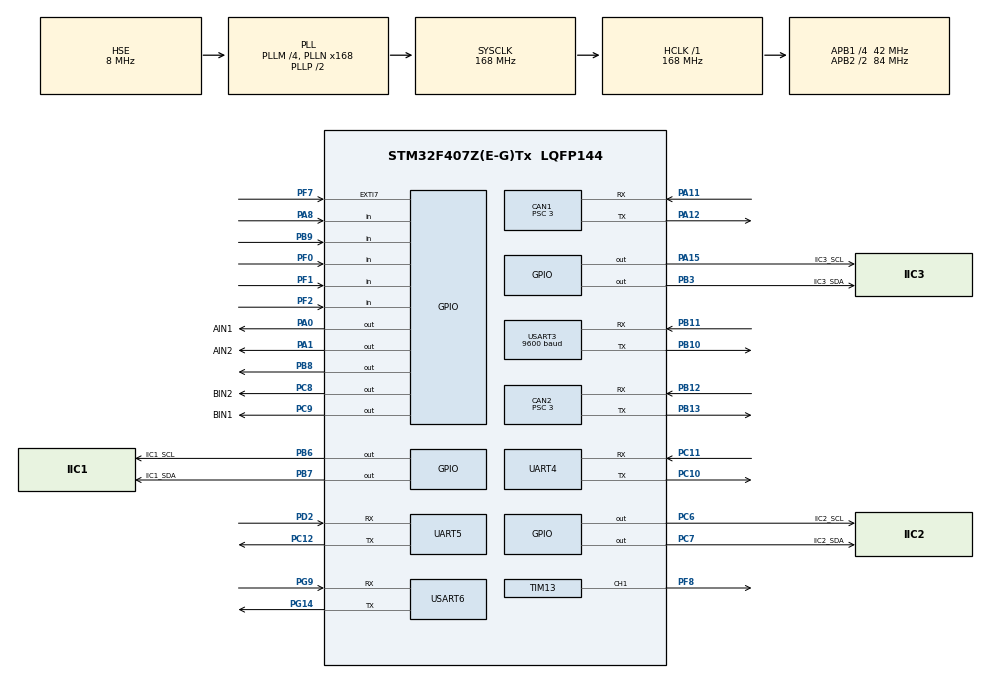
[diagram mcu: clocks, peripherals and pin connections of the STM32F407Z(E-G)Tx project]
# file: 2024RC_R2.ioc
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CAN1.ABOM=ENABLE
CAN1.BS1=CAN_BS1_9TQ
CAN1.BS2=CAN_BS2_4TQ
CAN1.CalculateBaudRate=1000000
CAN1.CalculateTimeBit=1000
CAN1.CalculateTimeQuantum=71.42857142857143
CAN1.Prescaler=3
CAN2.ABOM=ENABLE
CAN2.BS1=CAN_BS1_9TQ
CAN2.BS2=CAN_BS2_4TQ
CAN2.CalculateBaudRate=1000000
CAN2.CalculateTimeBit=1000
CAN2.CalculateTimeQuantum=71.42857142857143
CAN2.Prescaler=3
Dma.Request0=UART5_RX
Dma.UART5_RX.0.Direction=DMA_PERIPH_TO_MEMORY
Dma.UART5_RX.0.FIFOMode=DMA_FIFOMODE_DISABLE
Dma.UART5_RX.0.Instance=DMA1_Stream0
Dma.UART5_RX.0.MemDataAlignment=DMA_MDATAALIGN_BYTE
Dma.UART5_RX.0.MemInc=DMA_MINC_ENABLE
Dma.UART5_RX.0.Mode=DMA_NORMAL
Dma.UART5_RX.0.PeriphDataAlignment=DMA_PDATAALIGN_BYTE
Dma.UART5_RX.0.PeriphInc=DMA_PINC_DISABLE
Dma.UART5_RX.0.Priority=DMA_PRIORITY_MEDIUM
FREERTOS.Mutexes01=safe_printf,Dynamic,NULL
FREERTOS.Queues01=uart_queue,4,uint8_t,0,Dynamic,NULL,NULL
FREERTOS.Tasks01=defaultTask,8,128,StartDefaultTask,Default,NULL,Dynamic,NULL,NULL;ROS_32_Serial,24,512,ROS_32_Serial_Function,Default,NULL,Dynamic,NULL,NULL;Motor_Control,24,512,Motor_Control_Function,Default,NULL,Dynamic,NULL,NULL;U8_and_VESC,24,512,U8_and_VESC_Function,Default,NULL,Dynamic,NULL,NULL;upper_control,16,256,upper_control_f,Default,NULL,Dynamic,NULL,NULL;Huidu_task,16,128,Huidu_task_f,Default,NULL,Dynamic,NULL,NULL;sensor_task,8,128,sensor_Fun,Default,NULL,Dynamic,NULL,NULL
Mcu.Family=STM32F4
Mcu.Name=STM32F407Z(E-G)Tx
Mcu.Package=LQFP144
NVIC.CAN1_RX0_IRQn=true\:2\:0\:true\:false\:true\:false\:true\:true\:true
NVIC.CAN1_RX1_IRQn=true\:2\:0\:true\:false\:true\:false\:true\:true\:true
NVIC.CAN1_SCE_IRQn=true\:2\:0\:true\:false\:true\:false\:true\:true\:true
NVIC.CAN1_TX_IRQn=true\:2\:0\:true\:false\:true\:false\:true\:true\:true
NVIC.CAN2_RX0_IRQn=true\:5\:0\:false\:false\:true\:true\:true\:true\:true
NVIC.CAN2_RX1_IRQn=true\:5\:0\:false\:false\:true\:true\:true\:true\:true
NVIC.CAN2_SCE_IRQn=true\:5\:0\:false\:false\:true\:true\:true\:true\:true
NVIC.CAN2_TX_IRQn=true\:5\:0\:true\:false\:true\:true\:true\:true\:true
NVIC.DMA1_Stream0_IRQn=true\:5\:0\:false\:false\:true\:true\:false\:true\:true
NVIC.EXTI9_5_IRQn=true\:5\:0\:true\:false\:true\:false\:true\:true\:true
NVIC.PriorityGroup=NVIC_PRIORITYGROUP_4
NVIC.TIM2_IRQn=true\:5\:0\:false\:false\:true\:true\:true\:true\:true
NVIC.TIM3_IRQn=true\:15\:0\:false\:false\:true\:false\:false\:true\:true
NVIC.TimeBase=TIM3_IRQn
NVIC.TimeBaseIP=TIM3
NVIC.UART4_IRQn=true\:5\:0\:false\:false\:true\:true\:true\:true\:true
NVIC.UART5_IRQn=true\:5\:0\:false\:false\:true\:true\:true\:true\:true
NVIC.USART6_IRQn=true\:5\:0\:false\:false\:true\:true\:true\:true\:true
PA0-WKUP.GPIO_Label=AIN1
PA0-WKUP.Signal=GPIO_Output
PA1.GPIO_Label=AIN2
PA1.Signal=GPIO_Output
PA11.Mode=CAN_Activate
PA11.Signal=CAN1_RX
PA12.Mode=CAN_Activate
PA12.Signal=CAN1_TX
PA13.Mode=Serial_Wire
PA13.Signal=SYS_JTMS-SWDIO
PA14.Mode=Serial_Wire
PA14.Signal=SYS_JTCK-SWCLK
PA15.GPIO_Label=IIC3_SCL
PA15.GPIO_ModeDefaultOutputPP=GPIO_MODE_OUTPUT_OD
PA15.GPIO_PuPd=GPIO_PULLUP
PA15.GPIO_Speed=GPIO_SPEED_FREQ_HIGH
PA15.PinState=GPIO_PIN_SET
PA15.Signal=GPIO_Output
PA2.GPIO_PuPd=GPIO_PULLUP
PA2.GPIO_Speed=GPIO_SPEED_FREQ_HIGH
PA2.Signal=S_TIM9_CH1
PA8.Signal=GPIO_Input
PB10.Mode=Asynchronous
PB10.Signal=USART3_TX
PB11.Mode=Asynchronous
PB11.Signal=USART3_RX
PB12.Mode=CAN_Activate
PB12.Signal=CAN2_RX
PB13.Mode=CAN_Activate
PB13.Signal=CAN2_TX
PB3.GPIO_Label=IIC3_SDA
PB3.GPIO_ModeDefaultOutputPP=GPIO_MODE_OUTPUT_OD
PB3.GPIO_PuPd=GPIO_PULLUP
PB3.GPIO_Speed=GPIO_SPEED_FREQ_HIGH
PB3.PinState=GPIO_PIN_SET
PB3.Signal=GPIO_Output
PB6.GPIO_Label=IIC1_SCL
PB6.GPIO_ModeDefaultOutputPP=GPIO_MODE_OUTPUT_OD
PB6.GPIO_PuPd=GPIO_PULLUP
PB6.GPIO_Speed=GPIO_SPEED_FREQ_HIGH
PB6.PinState=GPIO_PIN_SET
PB6.Signal=GPIO_Output
PB7.GPIO_Label=IIC1_SDA
PB7.GPIO_ModeDefaultOutputPP=GPIO_MODE_OUTPUT_OD
PB7.GPIO_PuPd=GPIO_PULLUP
PB7.GPIO_Speed=GPIO_SPEED_FREQ_HIGH
PB7.PinState=GPIO_PIN_SET
PB7.Signal=GPIO_Output
PB8.GPIO_ModeDefaultOutputPP=GPIO_MODE_OUTPUT_PP
PB8.PinState=GPIO_PIN_RESET
PB8.Signal=GPIO_Output
PB9.GPIO_PuPd=GPIO_PULLUP
PB9.Signal=GPIO_Input
PC10.Mode=Asynchronous
PC10.Signal=UART4_TX
PC11.Mode=Asynchronous
PC11.Signal=UART4_RX
PC12.GPIO_PuPd=GPIO_PULLUP
PC12.Mode=Asynchronous
PC12.Signal=UART5_TX
PC14-OSC32_IN.Mode=LSE-External-Oscillator
PC14-OSC32_IN.Signal=RCC_OSC32_IN
PC15-OSC32_OUT.Mode=LSE-External-Oscillator
PC15-OSC32_OUT.Signal=RCC_OSC32_OUT
PC6.GPIO_Label=IIC2_SCL
PC6.GPIO_ModeDefaultOutputPP=GPIO_MODE_OUTPUT_OD
PC6.GPIO_PuPd=GPIO_PULLUP
PC6.GPIO_Speed=GPIO_SPEED_FREQ_HIGH
PC6.PinState=GPIO_PIN_SET
PC6.Signal=GPIO_Output
PC7.GPIO_Label=IIC2_SDA
PC7.GPIO_ModeDefaultOutputPP=GPIO_MODE_OUTPUT_OD
PC7.GPIO_PuPd=GPIO_PULLUP
PC7.GPIO_Speed=GPIO_SPEED_FREQ_HIGH
PC7.PinState=GPIO_PIN_SET
PC7.Signal=GPIO_Output
PC8.GPIO_Label=BIN2
PC8.Signal=GPIO_Output
PC9.GPIO_Label=BIN1
PC9.Signal=GPIO_Output
PD2.GPIO_PuPd=GPIO_PULLUP
PD2.Mode=Asynchronous
PD2.Signal=UART5_RX
PD5.Signal=USART2_TX
PD6.Signal=USART2_RX
PF0.GPIO_PuPd=GPIO_PULLUP
PF0.Signal=GPIO_Input
PF1.GPIO_PuPd=GPIO_PULLUP
PF1.Signal=GPIO_Input
PF2.GPIO_PuPd=GPIO_PULLUP
PF2.Signal=GPIO_Input
PF6.GPIO_PuPd=GPIO_PULLUP
PF6.GPIO_Speed=GPIO_SPEED_FREQ_HIGH
PF6.Signal=S_TIM10_CH1
PF7.GPIO_PuPd=GPIO_NOPULL
PF7.Signal=GPXTI7
PF8.GPIO_PuPd=GPIO_NOPULL
PF8.GPIO_Speed=GPIO_SPEED_FREQ_HIGH
PF8.Signal=S_TIM13_CH1
PG14.Mode=Asynchronous
PG14.Signal=USART6_TX
PG9.Mode=Asynchronous
PG9.Signal=USART6_RX
PH0-OSC_IN.Mode=HSE-External-Oscillator
PH0-OSC_IN.Signal=RCC_OSC_IN
PH1-OSC_OUT.Mode=HSE-External-Oscillator
PH1-OSC_OUT.Signal=RCC_OSC_OUT
ProjectManager.HeapSize=0x200
ProjectManager.StackSize=0x400
ProjectManager.TargetToolchain=MDK-ARM V5.32
RCC.48MHZClocksFreq_Value=84000000
RCC.AHBFreq_Value=168000000
RCC.APB1CLKDivider=RCC_HCLK_DIV4
RCC.APB1Freq_Value=42000000
RCC.APB1TimFreq_Value=84000000
RCC.APB2CLKDivider=RCC_HCLK_DIV2
RCC.APB2Freq_Value=84000000
RCC.APB2TimFreq_Value=168000000
RCC.CortexFreq_Value=168000000
RCC.HCLKFreq_Value=168000000
RCC.HSE_VALUE=8000000
RCC.HSI_VALUE=16000000
RCC.PLLM=4
RCC.PLLN=168
RCC.PLLSourceVirtual=RCC_PLLSOURCE_HSE
RCC.SYSCLKFreq_VALUE=168000000
RCC.SYSCLKSource=RCC_SYSCLKSOURCE_PLLCLK
RCC.VCOOutputFreq_Value=336000000
SH.S_TIM10_CH1.0=TIM10_CH1
SH.S_TIM13_CH1.0=TIM13_CH1,PWM Generation1 CH1
SH.S_TIM9_CH1.0=TIM9_CH1
TIM13.Channel=TIM_CHANNEL_1
TIM13.Period=19999
TIM13.Prescaler=83
TIM2.AutoReloadPreload=TIM_AUTORELOAD_PRELOAD_ENABLE
TIM2.Period=10000
TIM2.Prescaler=83
TIM7.Prescaler=83
UART4.VirtualMode=Asynchronous
UART5.VirtualMode=Asynchronous
USART3.BaudRate=9600
USART3.VirtualMode=VM_ASYNC
USART6.VirtualMode=VM_ASYNC
VP_FREERTOS_VS_CMSIS_V2.Mode=CMSIS_V2
VP_SYS_VS_tim3.Mode=TIM3
VP_TIM13_VS_ClockSourceINT.Mode=Enable_Timer
VP_TIM2_VS_ClockSourceINT.Mode=Internal
VP_TIM7_VS_ClockSourceINT.Mode=Enable_Timer
board=custom

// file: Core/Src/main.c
/* USER CODE BEGIN Header */
/**
  ******************************************************************************
  * @file           : main.c
  * @brief          : Main program body
  ******************************************************************************
  * @attention
  *
  * Copyright (c) 2023 STMicroelectronics.
  * All rights reserved.
  *
  * This software is licensed under terms that can be found in the LICENSE file
  * in the root directory of this software component.
  * If no LICENSE file comes with this software, it is provided AS-IS.
  *
  ******************************************************************************
  */
/* USER CODE END Header */
#include "main.h"
#include "cmsis_os.h"
#include "can.h"
#include "dma.h"
#include "tim.h"
#include "usart.h"
#include "gpio.h"

/* USER CODE BEGIN Includes */
#include "sw_i2c.h"

/* USER CODE END Includes */

void SystemClock_Config(void);
void MX_FREERTOS_Init(void);

int main(void)
{

  /* MCU Configuration--------------------------------------------------------*/

  /* Reset of all peripherals, Initializes the Flash interface and the Systick. */
  HAL_Init();

  /* Configure the system clock */
  SystemClock_Config();

  /* Initialize all configured peripherals */
  MX_GPIO_Init();
  MX_DMA_Init();
  MX_CAN1_Init();
  MX_CAN2_Init();
  MX_TIM2_Init();
  MX_UART5_Init();
  MX_TIM7_Init();
  MX_UART4_Init();
  MX_TIM13_Init();
  MX_USART6_UART_Init();
  MX_USART3_UART_Init();
  /* USER CODE BEGIN 2 */
    User_Open_Can1();
    User_Open_Can2();
   // HAL_GPIO_WritePin(GPIOA, AIN1_Pin, GPIO_PIN_SET);
	//HAL_GPIO_WritePin(GPIOA, AIN2_Pin, GPIO_PIN_RESET);
  /*Configure GPIO pin Output Level */
   // HAL_GPIO_WritePin(GPIOC, BIN2_Pin, GPIO_PIN_RESET);
   // HAL_GPIO_WritePin(GPIOC, BIN1_Pin, GPIO_PIN_SET);
	HAL_TIM_PWM_Start(&htim13,TIM_CHANNEL_1);
    huidu_init();
    Pid_Init_All();
    Motor_Type_Init();
    VESC_Init();
    HAL_TIM_Base_Start_IT(&htim2);
	yanse_init();
    extern unsigned char USART_Receiver6;
    extern unsigned char USART_Receiver4;
    extern unsigned char USART_Receiver5;
    HAL_UART_Receive_IT(&huart6, &USART_Receiver6, 1);
    HAL_UART_Receive_IT(&huart4, &USART_Receiver4, 1);
    HAL_UART_Receive_IT(&huart5,&USART_Receiver5,1);
    servo_init();
 //   HaoYing_U8_Init();
  /* USER CODE END 2 */

  /* Init scheduler */
  osKernelInitialize();

  /* Call init function for freertos objects (in cmsis_os2.c) */
  MX_FREERTOS_Init();

  /* Start scheduler */
  osKernelStart();

  /* We should never get here as control is now taken by the scheduler */

  /* Infinite loop */
  while (1)
  {

    /* USER CODE BEGIN 3 */
   //yanse_read();

	}
  /* USER CODE END 3 */
}

void SystemClock_Config(void)
{
  RCC_OscInitTypeDef RCC_OscInitStruct = {0};
  RCC_ClkInitTypeDef RCC_ClkInitStruct = {0};

  /** Configure the main internal regulator output voltage
  */
  __HAL_RCC_PWR_CLK_ENABLE();
  __HAL_PWR_VOLTAGESCALING_CONFIG(PWR_REGULATOR_VOLTAGE_SCALE1);

  /** Initializes the RCC Oscillators according to the specified parameters
  * in the RCC_OscInitTypeDef structure.
  */
  RCC_OscInitStruct.OscillatorType = RCC_OSCILLATORTYPE_HSE;
  RCC_OscInitStruct.HSEState = RCC_HSE_ON;
  RCC_OscInitStruct.PLL.PLLState = RCC_PLL_ON;
  RCC_OscInitStruct.PLL.PLLSource = RCC_PLLSOURCE_HSE;
  RCC_OscInitStruct.PLL.PLLM = 4;
  RCC_OscInitStruct.PLL.PLLN = 168;
  RCC_OscInitStruct.PLL.PLLP = RCC_PLLP_DIV2;
  RCC_OscInitStruct.PLL.PLLQ = 4;
  if (HAL_RCC_OscConfig(&RCC_OscInitStruct) != HAL_OK)
  {
    Error_Handler();
  }

  /** Initializes the CPU, AHB and APB buses clocks
  */
  RCC_ClkInitStruct.ClockType = RCC_CLOCKTYPE_HCLK|RCC_CLOCKTYPE_SYSCLK
                              |RCC_CLOCKTYPE_PCLK1|RCC_CLOCKTYPE_PCLK2;
  RCC_ClkInitStruct.SYSCLKSource = RCC_SYSCLKSOURCE_PLLCLK;
  RCC_ClkInitStruct.AHBCLKDivider = RCC_SYSCLK_DIV1;
  RCC_ClkInitStruct.APB1CLKDivider = RCC_HCLK_DIV4;
  RCC_ClkInitStruct.APB2CLKDivider = RCC_HCLK_DIV2;

  if (HAL_RCC_ClockConfig(&RCC_ClkInitStruct, FLASH_LATENCY_5) != HAL_OK)
  {
    Error_Handler();
  }
}

/* USER CODE BEGIN 4 */
extern uint32_t TIME_ISR_CNT,LAST_TIME_ISR_CNT;
extern uint16_t Microsecond_Cnt;

/* USER CODE END 4 */

void HAL_TIM_PeriodElapsedCallback(TIM_HandleTypeDef *htim)
{
  if (htim->Instance == TIM3) {
    HAL_IncTick();
  }
  /* USER CODE BEGIN Callback 1 */

    if (htim->Instance == TIM2)  // tim2
    {

        LAST_TIME_ISR_CNT = TIME_ISR_CNT;
        TIME_ISR_CNT++;
        Microsecond_Cnt++;
        R2_CONTROLLER.ros_stm32_noconnected_cnt++;
        if(R2_CONTROLLER.ros_stm32_noconnected_cnt>=20)
          R2_CONTROLLER.ros_stm32_noconnected_flag = 1;
        if (Microsecond_Cnt >= 1000)
        {
          Microsecond_Cnt = 0;
          Time_Sys[Second]++;
        if (Time_Sys[Second] >= 60)
        {
            Time_Sys[Second] = 0;
            Time_Sys[Minute]++;
            if (Time_Sys[Minute] >= 60)
            {
            Time_Sys[Minute] = 0;
            Time_Sys[Hour]++;
            }
        }
        }
        Time_Sys[MicroSecond] = Microsecond_Cnt;
    }

  /* USER CODE END Callback 1 */
}

void Error_Handler(void)
{
  __disable_irq();
  while (1)
  {
  }
}

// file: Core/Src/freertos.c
/* USER CODE BEGIN Header */
/**
  ******************************************************************************
  * File Name          : freertos.c
  * Description        : Code for freertos applications
  ******************************************************************************
  * @attention
  *
  * Copyright (c) 2023 STMicroelectronics.
  * All rights reserved.
  *
  * This software is licensed under terms that can be found in the LICENSE file
  * in the root directory of this software component.
  * If no LICENSE file comes with this software, it is provided AS-IS.
  *
  ******************************************************************************
  */
/* USER CODE END Header */

#include "FreeRTOS.h"
#include "task.h"
#include "main.h"
#include "cmsis_os.h"

/* USER CODE BEGIN PM */
#define DEBUG_PRINTF_ENABLE 0
/* USER CODE END PM */

/* Definitions for defaultTask */
osThreadId_t defaultTaskHandle;
const osThreadAttr_t defaultTask_attributes = {
  .name = "defaultTask",
  .stack_size = 128 * 4,
  .priority = (osPriority_t) osPriorityLow,
};
/* Definitions for ROS_32_Serial */
osThreadId_t ROS_32_SerialHandle;
const osThreadAttr_t ROS_32_Serial_attributes = {
  .name = "ROS_32_Serial",
  .stack_size = 512 * 4,
  .priority = (osPriority_t) osPriorityNormal,
};
/* Definitions for Motor_Control */
osThreadId_t Motor_ControlHandle;
const osThreadAttr_t Motor_Control_attributes = {
  .name = "Motor_Control",
  .stack_size = 512 * 4,
  .priority = (osPriority_t) osPriorityNormal,
};
/* Definitions for U8_and_VESC */
osThreadId_t U8_and_VESCHandle;
const osThreadAttr_t U8_and_VESC_attributes = {
  .name = "U8_and_VESC",
  .stack_size = 512 * 4,
  .priority = (osPriority_t) osPriorityNormal,
};
/* Definitions for upper_control */
osThreadId_t upper_controlHandle;
const osThreadAttr_t upper_control_attributes = {
  .name = "upper_control",
  .stack_size = 256 * 4,
  .priority = (osPriority_t) osPriorityBelowNormal,
};
/* Definitions for Huidu_task */
osThreadId_t Huidu_taskHandle;
const osThreadAttr_t Huidu_task_attributes = {
  .name = "Huidu_task",
  .stack_size = 128 * 4,
  .priority = (osPriority_t) osPriorityBelowNormal,
};
/* Definitions for sensor_task */
osThreadId_t sensor_taskHandle;
const osThreadAttr_t sensor_task_attributes = {
  .name = "sensor_task",
  .stack_size = 128 * 4,
  .priority = (osPriority_t) osPriorityLow,
};
/* Definitions for uart_queue */
osMessageQueueId_t uart_queueHandle;
const osMessageQueueAttr_t uart_queue_attributes = {
  .name = "uart_queue"
};
/* Definitions for safe_printf */
osMutexId_t safe_printfHandle;
const osMutexAttr_t safe_printf_attributes = {
  .name = "safe_printf"
};

/* USER CODE BEGIN FunctionPrototypes */
void debug_safe_printf(const char *format, ...)
{
#if DEBUG_PRINTF_ENABLE

  HAL_UART_MspInit(&huart5);

  osStatus xReturn;
  va_list args;
  va_start(args,format);

  xReturn = osMutexAcquire(safe_printfHandle,portMAX_DELAY);
  if(xReturn == osOK)
  {
    vprintf(format, args);
  }
  xReturn = osMutexRelease(safe_printfHandle);

#else
  HAL_UART_MspDeInit(&huart5);//为了用uart5进�?串口数据传输的调试，不用时关�?
  (void)0;
#endif
}
/* USER CODE END FunctionPrototypes */

void StartDefaultTask(void *argument);
void ROS_32_Serial_Function(void *argument);
void Motor_Control_Function(void *argument);
void U8_and_VESC_Function(void *argument);
void upper_control_f(void *argument);
void Huidu_task_f(void *argument);
void sensor_Fun(void *argument);

void MX_FREERTOS_Init(void); /* (MISRA C 2004 rule 8.1) */

void MX_FREERTOS_Init(void) {
  /* Create the mutex(es) */
  /* creation of safe_printf */
  safe_printfHandle = osMutexNew(&safe_printf_attributes);

  /* Create the queue(s) */
  /* creation of uart_queue */
  uart_queueHandle = osMessageQueueNew (4, sizeof(uint8_t), &uart_queue_attributes);

  /* Create the thread(s) */
  /* creation of defaultTask */
  defaultTaskHandle = osThreadNew(StartDefaultTask, NULL, &defaultTask_attributes);

  /* creation of ROS_32_Serial */
  ROS_32_SerialHandle = osThreadNew(ROS_32_Serial_Function, NULL, &ROS_32_Serial_attributes);

  /* creation of Motor_Control */
  Motor_ControlHandle = osThreadNew(Motor_Control_Function, NULL, &Motor_Control_attributes);

  /* creation of U8_and_VESC */
  U8_and_VESCHandle = osThreadNew(U8_and_VESC_Function, NULL, &U8_and_VESC_attributes);

  /* creation of upper_control */
  upper_controlHandle = osThreadNew(upper_control_f, NULL, &upper_control_attributes);

  /* creation of Huidu_task */
  Huidu_taskHandle = osThreadNew(Huidu_task_f, NULL, &Huidu_task_attributes);

  /* creation of sensor_task */
  sensor_taskHandle = osThreadNew(sensor_Fun, NULL, &sensor_task_attributes);

}

void StartDefaultTask(void *argument)
{
  /* USER CODE BEGIN StartDefaultTask */
    extern uint8_t test;
  /* Infinite loop */
  for(;;)
  {
    /* Infinite loop */
    for(;;)
    {
      if(SWA!=0&SWB!=0&SWC!=0&SWD!=0 && R2_CONTROLLER.ros_stm32_noconnected_flag == 1)      //rosû����ֱ����ң����
            Fsm32();
      osDelay(2);
    }
  }
  /* USER CODE END StartDefaultTask */
}

/* USER CODE BEGIN Header_ROS_32_Serial_Function */
/**
* @brief Function implementing the ROS_32_Serial thread.
* @param argument: Not used
* @retval None
*/
      int c = 0;
      int test_c = 0;
/* USER CODE END Header_ROS_32_Serial_Function */
void ROS_32_Serial_Function(void *argument)
{
  /* USER CODE BEGIN ROS_32_Serial_Function */

  /* Infinite loop */
  for(;;)
  {
    //the communication between ros and stm32
//      char data[]="hello windows!\n";
//        HAL_UART_Transmit(&huart4, (uint8_t *)data, 15, 0xffff);
//      c++;
      test_c++;
      if(test_c > 50)
      {
       c++;
          test_c = 0;
      }

    //   //��ǰ״̬�����״̬����������־λ����ת��־λ������������
    // Usart_Send_Data(R2_CONTROLLER.NOW_CONTROLLER_STATE,R2_CONTROLLER.Ball_sta,R2_CONTROLLER.put_ball_arrival,R2_CONTROLLER.lock_flag,c);

       // ��ǰ������״̬�����״̬����������־λ����ת��־λ�����΢�����ر�־λ��
     //  �������أ������볡���أ�������������־λ�������Զ���־λ��������
    Usart_Send_Data(R2_CONTROLLER.NOW_CONTROLLER_STATE,R2_CONTROLLER.Ball_sta,R2_CONTROLLER.put_ball_arrival,R2_CONTROLLER.lock_flag,
    R2_CONTROLLER.ball_position,Button.start_flag,Button.red_blue_flag,Button.restart_flag,Button.if_auto_flag,c);
    osDelay(50);
  }
  /* USER CODE END ROS_32_Serial_Function */
}

void Motor_Control_Function(void *argument)
{
  /* USER CODE BEGIN Motor_Control_Function */

  /* Infinite loop */
  for(;;)
  {
    Motor_Control();
    osDelay(2);
  }
  /* USER CODE END Motor_Control_Function */
}

void U8_and_VESC_Function(void *argument)
{
  /* USER CODE BEGIN U8_and_VESC_Function */
  /* Infinite loop */
    static int8_t cnt=0;
  for(;;)
  {
    for(int i=0;i<2;i++)
      VESC_Control(&VESC_MOTO_INFO[i+cnt]);         //0 1 2 3 4 5
    cnt+=2;
    if(cnt>=6)
      cnt=0;
    osDelay(5);
  }
  /* USER CODE END U8_and_VESC_Function */
}

void upper_control_f(void *argument)
{
  /* USER CODE BEGIN upper_control_f */
  /* Infinite loop */
  for(;;)
  {
    //?????ros?
    if(R2_CONTROLLER.ros_stm32_noconnected_flag == 0)
    ROS_Control();
    osDelay(2);
  }
  /* USER CODE END upper_control_f */
}

void Huidu_task_f(void *argument)
{
  /* USER CODE BEGIN Huidu_task_f */
  /* Infinite loop */
  for(;;)
  {
     // Huidu_Sensor();
      Servo_Control();
      //PWM_SERVO();
    osDelay(50);
  }
  /* USER CODE END Huidu_task_f */
}

void sensor_Fun(void *argument)
{
  /* USER CODE BEGIN sensor_Fun */
  /* Infinite loop */
  for(;;)
  {
      yanse_read();
    osDelay(1);
  }
  /* USER CODE END sensor_Fun */
}
